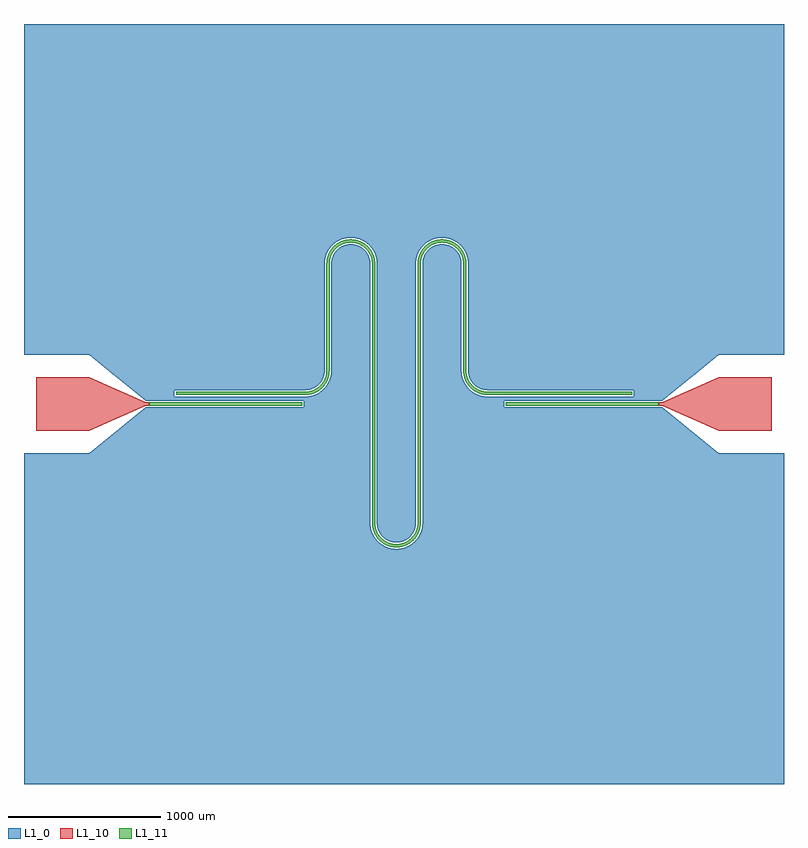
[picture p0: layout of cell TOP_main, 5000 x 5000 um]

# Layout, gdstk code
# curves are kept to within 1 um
import gdstk
lib = gdstk.Library(unit=1e-6, precision=1e-09)
def R(c, l, rs):  # rectangles x0, y0, x1, y1
    for r in rs: c.add(gdstk.rectangle(r[:2], r[2:], *l))
def P(c, l, *ps):  # polygons
    for p in ps: c.add(gdstk.Polygon(p, *l))
L1_0 = (1, 0)
L1_10 = (1, 10)
L1_11 = (1, 11)

ground_main_1 = lib.new_cell('ground_main_1')
R(ground_main_1, L1_0, [(-178,92.993,78,216.809)])
P(ground_main_1, L1_0, [(-2500,-2500),(-2500,-851.953),(-207.348,-851.953),(-195.777,-873.793),(-180.429,-894.634),(-162.127,-912.936),(-144.401,-926.287),(-125.104,-937.244),(-101.035,-946.762),(-75.81,-952.56),(-50,-954.507),(-24.19,-952.56),(1.035,-946.762),(25.104,-937.244),(44.401,-926.287),(62.127,-912.936),(80.429,-894.634),(95.777,-873.793),(107.348,-851.953),(2500,-851.953),(2500,-2500)],
  [(-50,-910.507),(-81.585,-906.549),(-111.217,-894.92),(-137.062,-876.338),(-157.523,-851.953),(57.523,-851.953),(37.062,-876.338),(11.217,-894.92),(-18.415,-906.549)],
  [(-2500,-851.953),(-2500,-325),(-2070,-325),(-1700,-22),(-658,-22),(-658,22),(-1700,22),(-1786.692,92.993),(-634.084,92.993),(-1512,92),(-1512,48),(-642.6,48.159),(-613.274,51.967),(-585.034,60.741),(-558.714,74.223),(-534.026,92.993),(-222,92.993),(-221.96,-786.208),(-218.033,-819.233),(-207.348,-851.953)],
  [(-157.523,-851.953),(-165.324,-838.045),(-172.313,-820.236),(-176.57,-801.585),(-177.96,-785.699),(-178,92.993),(78,92.993),(78,-782.507),(74.042,-814.092),(66.673,-835.152),(57.523,-851.953)],
  [(107.348,-851.953),(118.033,-819.233),(121.96,-786.208),(122,92.993),(434.026,92.993),(458.714,74.223),(488.476,59.38),(516.898,51.215),(550,48),(1512,48),(1512,92),(534.084,92.993),(1786.692,92.993),(1700,22),(658,22),(658,-22),(1700,-22),(2070,-325),(2500,-325),(2500,-851.953)],
  [(-1786.692,92.993),(-1937.885,216.809),(-522.04,216.809),(-524.538,194.637),(-530.848,173.236),(-540.779,153.256),(-556.169,132.938),(-572.713,117.967),(-591.605,106.096),(-612.271,97.687),(-634.084,92.993)],
  [(-534.026,92.993),(-510.415,119.501),(-493.683,148.243),(-481.967,183.274),(-478.034,216.809),(-222,216.809),(-222,92.993)],
  [(122,92.993),(122,216.809),(378.034,216.809),(381.967,183.274),(393.683,148.243),(410.415,119.501),(434.026,92.993)],
  [(534.084,92.993),(512.271,97.687),(491.605,106.096),(472.713,117.967),(456.169,132.938),(440.779,153.256),(430.848,173.236),(424.538,194.637),(422.04,216.809),(1937.885,216.809),(1786.692,92.993)],
  [(-1937.885,216.809),(-2070,325),(-2500,325),(-2500,994.265),(-506.317,994.265),(-517.204,962.84),(-521.96,926.208),(-522.04,216.809)],
  [(-478.034,216.809),(-478,922.507),(-476.57,941.585),(-472.313,960.236),(-465.324,978.045),(-455.989,994.265),(-244.011,994.265),(-234.676,978.045),(-227.687,960.236),(-223.43,941.585),(-222.04,925.699),(-222,216.809)],
  [(-178,216.809),(-178.04,926.208),(-182.796,962.84),(-193.683,994.265),(93.683,994.265),(82.796,962.84),(78.04,926.208),(78,216.809)],
  [(122,216.809),(122,922.507),(123.43,941.585),(127.687,960.236),(134.676,978.045),(144.011,994.265),(355.989,994.265),(365.324,978.045),(372.313,960.236),(376.57,941.585),(377.96,925.699),(378.034,216.809)],
  [(422.04,216.809),(421.96,926.208),(417.204,962.84),(406.317,994.265),(2500,994.265),(2500,325),(2070,325),(1937.885,216.809)],
  [(-2500,994.265),(-2500,1045.723),(-470.002,1045.723),(-489.585,1023.007),(-506.317,994.265)],
  [(-455.989,994.265),(-441.631,1011.882),(-424.719,1026.435),(-405.537,1037.831),(-384.668,1045.723),(-315.332,1045.723),(-306.221,1042.788),(-288.783,1034.92),(-270.193,1022.582),(-256.169,1009.57),(-244.011,994.265)],
  [(-193.683,994.265),(-210.415,1023.007),(-229.998,1045.723),(129.998,1045.723),(110.415,1023.007),(93.683,994.265)],
  [(144.011,994.265),(158.369,1011.882),(175.281,1026.435),(194.463,1037.831),(215.332,1045.723),(284.668,1045.723),(293.779,1042.788),(311.217,1034.92),(329.807,1022.582),(343.831,1009.57),(355.989,994.265)],
  [(406.317,994.265),(389.585,1023.007),(370.002,1045.723),(2500,1045.723),(2500,994.265)],
  [(-2500,1045.723),(-2500,2500),(2500,2500),(2500,1045.723),(370.002,1045.723),(344.401,1066.287),(314.966,1081.766),(283.102,1091.292),(250,1094.507),(216.898,1091.292),(185.034,1081.766),(155.599,1066.287),(129.998,1045.723),(-229.998,1045.723),(-255.599,1066.287),(-285.034,1081.766),(-316.898,1091.292),(-350,1094.507),(-383.102,1091.292),(-414.966,1081.766),(-444.401,1066.287),(-470.002,1045.723)],
  [(-384.668,1045.723),(-369.077,1049.078),(-359.565,1050.149),(-350,1050.507),(-340.435,1050.149),(-330.923,1049.078),(-315.332,1045.723)],
  [(215.332,1045.723),(230.923,1049.078),(240.435,1050.149),(250,1050.507),(259.565,1050.149),(269.077,1049.078),(284.668,1045.723)])

top_main_1_one_hole = lib.new_cell('TOP_main_1_one_hole')

top_main_1_cheese_diff = lib.new_cell('TOP_main_1_Cheese_diff')

top_main_1_cheese_100 = lib.new_cell('TOP_main_1_Cheese_100')

top_main_1 = lib.new_cell('TOP_main_1')
P(top_main_1, L1_10, [(-2420,-175),(-2420,175),(-2070,175),(-1700,10),(-1700,10),(-1675,10),(-1675,-10),(-1700,-10),(-2070,-175)],
  [(2070,-175),(1700,-10),(1700,-10),(1675,-10),(1675,10),(1700,10),(2070,175),(2420,175),(2420,-175)])
R(top_main_1, L1_11, [(-1675,-10,-670,10), (670,-10,1675,10)])
P(top_main_1, L1_11, [(-1500,60),(-1500,80),(-640.013,80.357),(-616.994,83.946),(-594.889,91.304),(-571.529,104.059),(-553.389,118.677),(-535.959,138.792),(-524.072,158.828),(-514.77,183.765),(-510.357,210.013),(-509.839,929.686),(-507.429,951.077),(-501.021,975.352),(-492.561,995.146),(-479.443,1016.553),(-479.443,975.817),(-486.801,952.267),(-489.96,925.839),(-490.362,209.237),(-495.766,177.434),(-505.845,150.579),(-520.557,125.954),(-539.43,104.353),(-561.856,86.468),(-587.116,72.876),(-614.397,64.012),(-642.822,60.161)],
  [(-479.443,975.817),(-479.443,1016.553),(-463.137,1035.644),(-444.046,1051.95),(-422.638,1065.068),(-399.443,1074.676),(-375.03,1080.538),(-353.59,1082.467),(-332.086,1081.501),(-310.906,1077.658),(-290.433,1071.006),(-271.039,1061.666),(-253.074,1049.807),(-236.863,1035.644),(-221.304,1017.556),(-221.304,977.618),(-232.225,998.197),(-246.407,1016.68),(-263.458,1032.555),(-282.905,1045.382),(-304.21,1054.808),(-326.784,1060.569),(-350,1062.507),(-373.216,1060.569),(-405.111,1051.204),(-420,1043.751),(-436.542,1032.555),(-451.323,1019.118),(-462.076,1006.406),(-471.244,992.507)],
  [(-50,-942.507),(-78.569,-939.936),(-109.567,-931.006),(-135.125,-917.983),(-157.947,-900.606),(-177.3,-879.434),(-194.155,-851.929),(-204.234,-825.073),(-209.356,-796.85),(-210,922.507),(-213.199,952.267),(-221.304,977.618),(-221.304,1017.556),(-209.105,998.326),(-198.979,975.352),(-192.571,951.077),(-190.04,926.097),(-189.366,-795.815),(-185.23,-818.742),(-177.348,-840.666),(-165.941,-860.978),(-151.323,-879.118),(-131.208,-896.548),(-105.111,-911.204),(-79.759,-919.308),(-50,-922.507)],
  [(-50,-942.507),(-50,-922.507),(-20.241,-919.308),(5.111,-911.204),(31.208,-896.548),(51.323,-879.118),(65.941,-860.978),(77.348,-840.666),(85.23,-818.742),(89.366,-795.815),(90.04,926.097),(92.571,951.077),(98.979,975.352),(109.105,998.326),(122.652,1019.369),(122.652,980.666),(113.199,952.267),(110,922.507),(109.356,-796.85),(104.234,-825.073),(94.155,-851.929),(77.3,-879.434),(57.947,-900.606),(35.125,-917.983),(9.567,-931.006),(-21.431,-939.936)],
  [(379.972,974.54),(364.041,1003.715),(353.593,1016.68),(339.137,1030.464),(325.69,1040.283),(308.158,1049.856),(292.628,1055.86),(273.216,1060.569),(250,1062.507),(226.784,1060.569),(204.21,1054.808),(185.848,1046.944),(166.101,1034.583),(148.677,1019.118),(134.059,1000.978),(122.652,980.666),(122.652,1019.369),(136.863,1035.644),(153.074,1049.807),(171.039,1061.666),(190.433,1071.006),(210.906,1077.658),(235.658,1081.863),(257.178,1082.346),(278.569,1079.936),(302.845,1073.529),(325.819,1063.403),(346.926,1049.807),(365.647,1033.077),(379.972,1015.808)],
  [(550,60),(521.431,62.571),(493.78,70.202),(467.936,82.648),(447.46,97.177),(427.177,117.46),(412.648,137.936),(400.202,163.78),(392.571,191.431),(390,220),(389.96,925.839),(386.801,952.267),(379.972,974.54),(379.972,1015.808),(392.561,995.146),(401.021,975.352),(407.429,951.077),(409.839,929.686),(410.634,206.692),(415.671,180.557),(425.563,155.848),(442.043,130.863),(460.863,112.043),(480,98.756),(501.075,88.827),(523.505,82.53),(546.668,80.04),(1500,80),(1500,60)])
top_main_1.add(gdstk.Reference(ground_main_1, (0,0)))
top_main_1.add(gdstk.Reference(top_main_1_one_hole, (0,0)))
top_main_1.add(gdstk.Reference(top_main_1_cheese_diff, (0,0)))
top_main_1.add(gdstk.Reference(top_main_1_cheese_100, (0,0)))

top_main_1_nocheese_99 = lib.new_cell('TOP_main_1_NoCheese_99')

top_main = lib.new_cell('TOP_main')
top_main.add(gdstk.Reference(top_main_1, (0,0)))
top_main.add(gdstk.Reference(top_main_1_nocheese_99, (0,0)))

lib.write_gds('TOP_main.gds')
